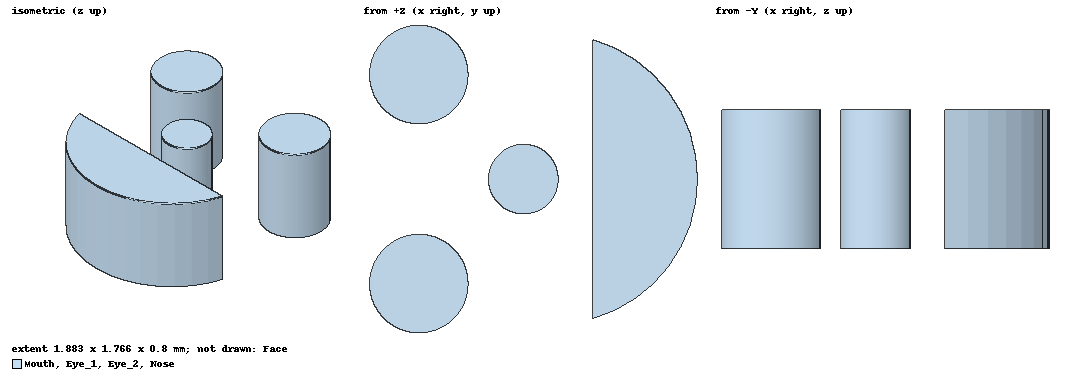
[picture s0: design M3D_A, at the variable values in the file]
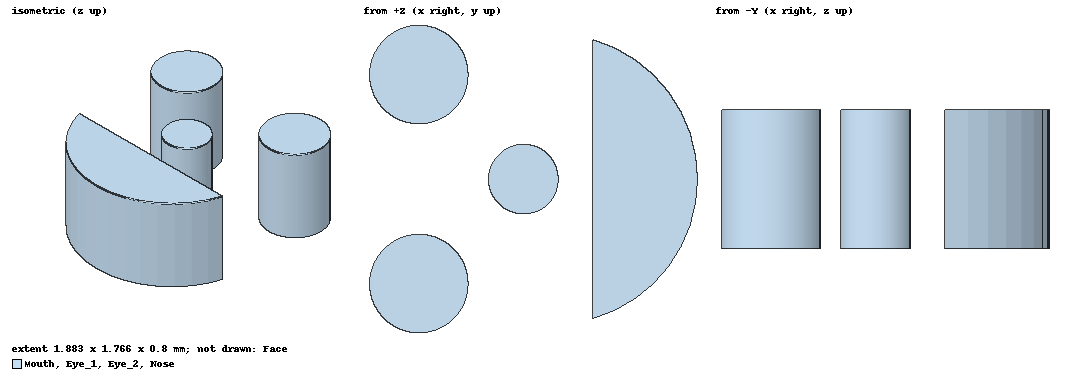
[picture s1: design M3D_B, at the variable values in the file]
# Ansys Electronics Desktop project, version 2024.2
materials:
  vacuum: permittivity=1
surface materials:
  SurfaceMaterial1

design M3D_A (Maxwell 3D, Magnetostatic, model units mm)
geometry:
  Face [vacuum] = circle(normal=Z, centre=(0mm, 0mm, 0mm), radius=1.4mm)
  Eye_1 [vacuum] = circle(normal=Z, centre=(-0.6mm, -0.6mm, 0mm), radius=0.28284271mm)
  Eye_2 [vacuum] = circle(normal=Z, centre=(-0.6mm, 0.6mm, 0mm), radius=0.28284271mm)
  Nose [vacuum] = circle(normal=Z, centre=(0mm, 0mm, 0mm), radius=0.2mm)
  Mouth [vacuum] = polyline(z=0mm, xy in mm: (0.4, -0.8) (1, 0) (0.4, 0.8) (0.4, -0.8), closed, covered, Arc from point 0 over 3)
  [Face, Eye_1, Eye_2, Nose, Mouth].sweep_along_vector((0mm, 0mm, 0.8mm))
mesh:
  initial mesh: GlobalCurvilinear{Apply}

design M3D_B (Maxwell 3D, Magnetostatic, model units mm)
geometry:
  Face [vacuum] = circle(normal=Z, centre=(0mm, 0mm, 0mm), radius=1.4mm)
  Eye_1 [vacuum] = circle(normal=Z, centre=(-0.6mm, -0.6mm, 0mm), radius=0.28284271mm)
  Eye_2 [vacuum] = circle(normal=Z, centre=(-0.6mm, 0.6mm, 0mm), radius=0.28284271mm)
  Nose [vacuum] = circle(normal=Z, centre=(0mm, 0mm, 0mm), radius=0.2mm)
  Mouth [vacuum] = polyline(z=0mm, xy in mm: (0.4, -0.8) (1, 0) (0.4, 0.8) (0.4, -0.8), closed, covered, Arc from point 0 over 3)
  [Face, Eye_1, Eye_2, Nose, Mouth].sweep_along_vector((0mm, 0mm, 0.8mm))
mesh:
  initial mesh: GlobalCurvilinear{Apply}
